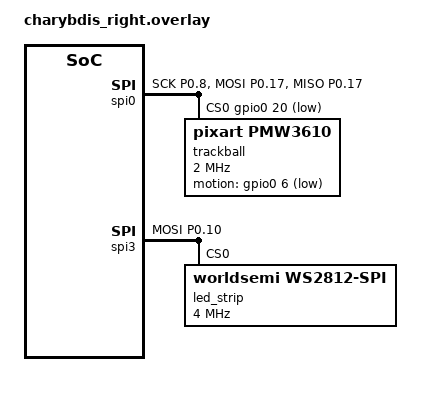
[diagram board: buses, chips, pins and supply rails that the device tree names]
/*
 * Copyright (c) 2020 ZMK Contributors
 *
 * SPDX-License-Identifier: MIT
 */

#include <zephyr/dt-bindings/input/input-event-codes.h>

/ {
    chosen {
        zmk,underglow = &led_strip;
    };

    trackball_listener {
        compatible = "zmk,input-listener";
        device = <&trackball>;
    };
};

#include "charybdis.dtsi"

&default_transform {
    col-offset = <6>;
};

&kscan0 {
    col-gpios =
        <&gpio0 2 GPIO_ACTIVE_HIGH>,
        <&gpio0 29 GPIO_ACTIVE_HIGH>,
        <&gpio0 9 GPIO_ACTIVE_HIGH>,
        <&gpio1 0 GPIO_ACTIVE_HIGH>,
        <&gpio0 11 GPIO_ACTIVE_HIGH>,
        <&gpio1 4 GPIO_ACTIVE_HIGH>;
};

/*
 * Trackball PMW3610
 */

&pinctrl {
    spi0_default: spi0_default {
        group1 {
            psels =
                <NRF_PSEL(SPIM_SCK, 0, 8)>,
                <NRF_PSEL(SPIM_MOSI, 0, 17)>,
                <NRF_PSEL(SPIM_MISO, 0, 17)>;
        };
    };

    spi0_sleep: spi0_sleep {
        group1 {
            psels =
                <NRF_PSEL(SPIM_SCK, 0, 8)>,
                <NRF_PSEL(SPIM_MOSI, 0, 17)>,
                <NRF_PSEL(SPIM_MISO, 0, 17)>;

            low-power-enable;
        };
    };
};

&spi0 {
    status = "okay";
    compatible = "nordic,nrf-spim";

    pinctrl-0 = <&spi0_default>;
    pinctrl-1 = <&spi0_sleep>;
    pinctrl-names = "default", "sleep";

    cs-gpios = <&gpio0 20 GPIO_ACTIVE_LOW>;

    trackball: trackball@0 {
        status = "okay";
        compatible = "pixart,pmw3610";

        reg = <0>;
        spi-max-frequency = <2000000>;

        /*
         * Было irq-gpios.
         * Для встроенного Zephyr driver используется motion-gpios.
         */
        motion-gpios =
            <&gpio0 6 (GPIO_ACTIVE_LOW | GPIO_PULL_UP)>;

        /*
         * Оси движения.
         */
        zephyr,axis-x = <INPUT_REL_X>;
        zephyr,axis-y = <INPUT_REL_Y>;

        /*
         * Разрешение трекбола.
         */
        res-cpi = <600>;

        /*
         * Эти свойства удалены, потому что они относятся
         * к старому внешнему zmk-pmw3610-driver:
         *
         * scroll-layers = <3>;
         * snipe-layers = <4>;
         * automouse-layer = <3>;
         */
    };
};

/*
 * RGB bus
 */

&pinctrl {
    spi3_default: spi3_default {
        group1 {
            psels =
                <NRF_PSEL(SPIM_MOSI, 0, 10)>;
        };
    };

    spi3_sleep: spi3_sleep {
        group1 {
            psels =
                <NRF_PSEL(SPIM_MOSI, 0, 10)>;

            low-power-enable;
        };
    };
};

&spi3 {
    compatible = "nordic,nrf-spim";
    status = "okay";

    pinctrl-0 = <&spi3_default>;
    pinctrl-1 = <&spi3_sleep>;
    pinctrl-names = "default", "sleep";

    led_strip: ws2812@0 {
        compatible = "worldsemi,ws2812-spi";

        reg = <0>;
        spi-max-frequency = <4000000>;

        /*
         * Правая половина — 27 LED.
         */
        chain-length = <27>;

        spi-one-frame = <0x70>;
        spi-zero-frame = <0x40>;

        color-mapping =
            <LED_COLOR_ID_GREEN
             LED_COLOR_ID_RED
             LED_COLOR_ID_BLUE>;
    };
};
